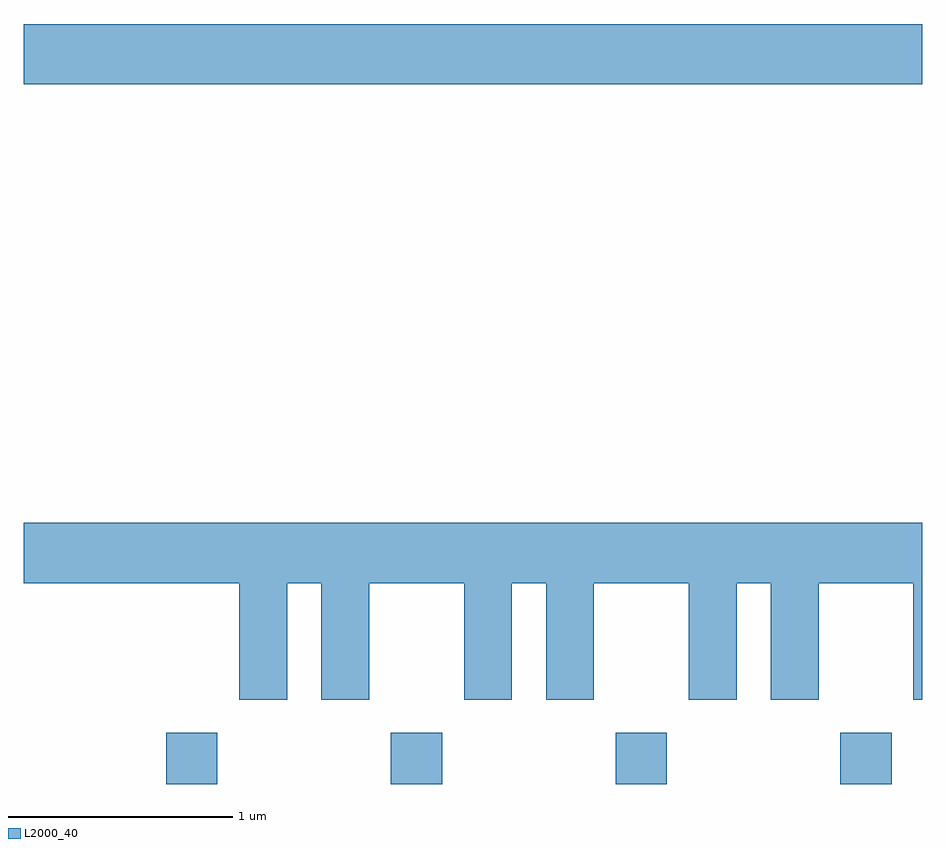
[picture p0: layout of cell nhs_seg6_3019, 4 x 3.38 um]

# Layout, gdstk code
import gdstk
lib = gdstk.Library(unit=1e-6, precision=1e-09)
def R(c, l, rs):  # rectangles x0, y0, x1, y1
    for r in rs: c.add(gdstk.rectangle(r[:2], r[2:], *l))
def A(c, l, x, y, w, h, nx, ny, dx, dy):  # array of equal rectangles
    R(c, l, [(x+i*dx, y+j*dy, x+i*dx+w, y+j*dy+h) for i in range(nx) for j in range(ny)])
def P(c, l, *ps):  # polygons
    for p in ps: c.add(gdstk.Polygon(p, *l))
L2000_40 = (2000, 40)

nhs_seg6_3019 = lib.new_cell('nhs_seg6_3019')
A(nhs_seg6_3019, L2000_40, 276.246, 1640.162, 0.228, 0.227, 4, 1, 1, 0)
R(nhs_seg6_3019, L2000_40, [(275.611,1643.276,279.611,1643.544)])
P(nhs_seg6_3019, L2000_40, [(276.784,1641.056),(276.936,1641.056),(276.936,1640.536),(277.149,1640.536),(277.149,1641.056),(277.571,1641.056),(277.571,1640.536),(277.784,1640.536),(277.784,1641.056),(277.936,1641.056),(277.936,1640.536),(278.149,1640.536),(278.149,1641.056),(278.571,1641.056),(278.571,1640.536),(278.784,1640.536),(278.784,1641.056),(278.936,1641.056),(278.936,1640.536),(279.149,1640.536),(279.149,1641.056),(279.571,1641.056),(279.571,1640.536),(279.611,1640.536),(279.611,1641.324),(275.611,1641.324),(275.611,1641.056),(276.571,1641.056),(276.571,1640.536),(276.784,1640.536)])

lib.write_gds('nhs_seg6_3019.gds')
